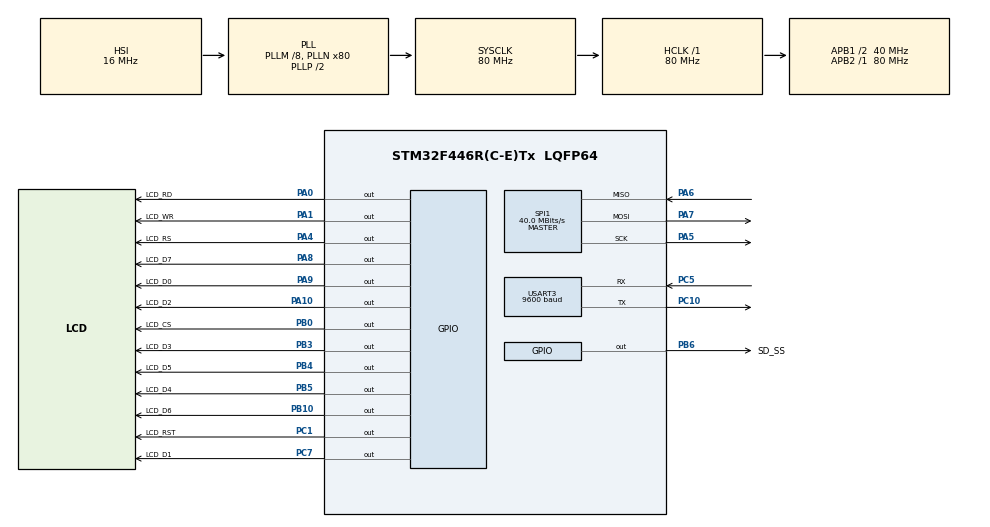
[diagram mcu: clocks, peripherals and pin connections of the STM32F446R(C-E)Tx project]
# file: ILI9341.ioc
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Mcu.Family=STM32F4
Mcu.Name=STM32F446R(C-E)Tx
Mcu.Package=LQFP64
NVIC.PriorityGroup=NVIC_PRIORITYGROUP_4
NVIC.USART3_IRQn=true\:0\:0\:false\:false\:true\:true\:true\:true
PA0-WKUP.GPIO_Label=LCD_RD
PA0-WKUP.GPIO_Speed=GPIO_SPEED_FREQ_HIGH
PA0-WKUP.Signal=GPIO_Output
PA1.GPIO_Label=LCD_WR
PA1.GPIO_Speed=GPIO_SPEED_FREQ_HIGH
PA1.Signal=GPIO_Output
PA10.GPIO_Label=LCD_D2
PA10.GPIO_Speed=GPIO_SPEED_FREQ_HIGH
PA10.Signal=GPIO_Output
PA13.Mode=Serial_Wire
PA13.Signal=SYS_JTMS-SWDIO
PA14.Mode=Serial_Wire
PA14.Signal=SYS_JTCK-SWCLK
PA4.GPIO_Label=LCD_RS
PA4.GPIO_Speed=GPIO_SPEED_FREQ_HIGH
PA4.Signal=GPIO_Output
PA5.Mode=Full_Duplex_Master
PA5.Signal=SPI1_SCK
PA6.Mode=Full_Duplex_Master
PA6.Signal=SPI1_MISO
PA7.Mode=Full_Duplex_Master
PA7.Signal=SPI1_MOSI
PA8.GPIO_Label=LCD_D7
PA8.GPIO_Speed=GPIO_SPEED_FREQ_HIGH
PA8.Signal=GPIO_Output
PA9.GPIO_Label=LCD_D0
PA9.GPIO_Speed=GPIO_SPEED_FREQ_HIGH
PA9.Signal=GPIO_Output
PB0.GPIO_Label=LCD_CS
PB0.GPIO_Speed=GPIO_SPEED_FREQ_HIGH
PB0.Signal=GPIO_Output
PB10.GPIO_Label=LCD_D6
PB10.GPIO_Speed=GPIO_SPEED_FREQ_HIGH
PB10.Signal=GPIO_Output
PB3.GPIO_Label=LCD_D3
PB3.GPIO_Speed=GPIO_SPEED_FREQ_HIGH
PB3.Signal=GPIO_Output
PB4.GPIO_Label=LCD_D5
PB4.GPIO_Speed=GPIO_SPEED_FREQ_HIGH
PB4.Signal=GPIO_Output
PB5.GPIO_Label=LCD_D4
PB5.GPIO_Speed=GPIO_SPEED_FREQ_HIGH
PB5.Signal=GPIO_Output
PB6.GPIO_Label=SD_SS
PB6.GPIO_Speed=GPIO_SPEED_FREQ_HIGH
PB6.Signal=GPIO_Output
PC1.GPIO_Label=LCD_RST
PC1.GPIO_Speed=GPIO_SPEED_FREQ_HIGH
PC1.Signal=GPIO_Output
PC10.Mode=Asynchronous
PC10.Signal=USART3_TX
PC5.Mode=Asynchronous
PC5.Signal=USART3_RX
PC7.GPIO_Label=LCD_D1
PC7.GPIO_Speed=GPIO_SPEED_FREQ_HIGH
PC7.Signal=GPIO_Output
PH0-OSC_IN.Mode=HSE-External-Oscillator
PH0-OSC_IN.Signal=RCC_OSC_IN
PH1-OSC_OUT.Mode=HSE-External-Oscillator
PH1-OSC_OUT.Signal=RCC_OSC_OUT
ProjectManager.HeapSize=0x200
ProjectManager.StackSize=0x400
ProjectManager.TargetToolchain=STM32CubeIDE
RCC.AHBFreq_Value=80000000
RCC.APB1CLKDivider=RCC_HCLK_DIV2
RCC.APB1Freq_Value=40000000
RCC.APB1TimFreq_Value=80000000
RCC.APB2Freq_Value=80000000
RCC.APB2TimFreq_Value=80000000
RCC.CortexFreq_Value=80000000
RCC.HCLKFreq_Value=80000000
RCC.PLLM=8
RCC.PLLN=80
RCC.SYSCLKFreq_VALUE=80000000
RCC.SYSCLKSource=RCC_SYSCLKSOURCE_PLLCLK
RCC.USBFreq_Value=80000000
RCC.VCOOutputFreq_Value=160000000
SPI1.CalculateBaudRate=40.0 MBits/s
SPI1.Direction=SPI_DIRECTION_2LINES
SPI1.Mode=SPI_MODE_MASTER
SPI1.VirtualType=VM_MASTER
USART3.BaudRate=9600
USART3.Mode=MODE_RX
USART3.VirtualMode=VM_ASYNC
board=custom

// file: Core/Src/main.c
/* USER CODE BEGIN Header */
/**
 ******************************************************************************
 * @file           : main.c
 * @brief          : Main program body
 ******************************************************************************
 * @attention
 *
 * Copyright (c) 2024 STMicroelectronics.
 * All rights reserved.
 *
 * This software is licensed under terms that can be found in the LICENSE file
 * in the root directory of this software component.
 * If no LICENSE file comes with this software, it is provided AS-IS.
 *
 ******************************************************************************
 */
/* USER CODE END Header */
#include "main.h"

/* USER CODE BEGIN Includes */
#include "ili9341.h"
/* USER CODE END Includes */

SPI_HandleTypeDef hspi1;

UART_HandleTypeDef huart3;

/* USER CODE BEGIN PV */
//extern uint8_t fondo[];
extern uint8_t Jug2 [];
extern uint8_t Jug1 [];
extern uint8_t colijug1 [];
extern uint8_t movjug1 [];
uint8_t data[];
int rect_x = 90, rect_y = 60;
int rect_width = 20, rect_height = 20;

/*int y_limit_min = 10, y_limit_max = 200;*/
int move_step = 10;
int jug_width = 32, jug_height = 31;

// Coordenadas iniciales del personaje Jug1
int jug_x = 150, jug_y = 200;

// Límite de movimiento en Y para Jug1
int y_limit_min = 120, y_limit_max = 240;

int green_rect_x = 150, green_rect_y = 60;
int green_rect_width = 20, green_rect_height = 20;

volatile uint8_t received_char = 0;  // Variable para almacenar el último carácter recibido
volatile uint8_t new_command = 0;  // Bandera para indicar si se recibió un nuevo comando

int colision = 0;

// Variable para mostrar en pantalla
char Pant[20];
/* USER CODE END PV */

void SystemClock_Config(void);
static void MX_GPIO_Init(void);
static void MX_SPI1_Init(void);
static void MX_USART3_UART_Init(void);

/* USER CODE BEGIN 0 */
int check_collision(int jug_x, int jug_y, int green_x, int green_y) {
    return (jug_x < green_x + green_rect_width &&
            jug_x + jug_width > green_x &&
            jug_y < green_y + green_rect_height &&
            jug_y + jug_height > green_y);
}
void move_jug1_up() {
    // Limpiar la posición actual del personaje Jug1 (dibujar un rectángulo blanco sobre la posición anterior)
    FillRect(jug_x, jug_y, jug_width, jug_height, 0xFFFF);  // Color de fondo (blanco)

    // Mover hacia arriba si no ha alcanzado el límite
    if (jug_y - move_step >= y_limit_min) {
        jug_y -= move_step;
    }

    // Dibujar el personaje Jug1 en la nueva posición
    LCD_Bitmap(jug_x, jug_y, jug_width, jug_height, Jug1);  // Dibuja Jug1 en la nueva posición

    // Verificar colisión con el cubo verde
    if (check_collision(jug_x, jug_y, green_rect_x, green_rect_y)) {
    	colision++;
    }

    // Mostrar el contador de colisiones en pantalla
    sprintf(Pant, "Colisiones: %d", colision);
    LCD_Print(Pant, 20, 100, 1, 0x001F, 0xFFFF);  // Imprimir colisiones en la pantalla
}
void move_jug1_down() {
    // Limpiar la posición actual del personaje Jug1 (dibujar un rectángulo blanco sobre la posición anterior)
    FillRect(jug_x, jug_y, jug_width, jug_height, 0xFFFF);  // Color de fondo (blanco)

    // Mover hacia abajo si no ha alcanzado el límite
    if (jug_y + move_step <= y_limit_max) {
        jug_y += move_step;
    }

    // Dibujar el personaje Jug1 en la nueva posición
    LCD_Bitmap(jug_x, jug_y, jug_width, jug_height, Jug1);  // Dibuja Jug1 en la nueva posición

    // Verificar colisión con el cubo verde
    if (check_collision(jug_x, jug_y, green_rect_x, green_rect_y)) {
        colision++;
    }

    // Mostrar el contador de colisiones en pantalla
    sprintf(Pant, "Colisiones: %d", colision);
    LCD_Print(Pant, 20, 100, 1, 0x001F, 0xFFFF);  // Imprimir colisiones en la pantalla
}
/*void move_blue_cube_up() {
    // Limpiar el cubo azul actual (dibujar un rectángulo blanco sobre la posición anterior)
    FillRect(rect_x, rect_y, rect_width, rect_height, 0xFFFF);  // Color de fondo (blanco)

    // Mover hacia arriba si no ha alcanzado el límite
    if (rect_y - move_step >= y_limit_min) {
        rect_y -= move_step;
    }

    // Dibujar el cubo azul en la nueva posición
    FillRect(rect_x, rect_y, rect_width, rect_height, 0x001F);  // Azul

    // Verificar colisión con el cubo verde
    if (check_collision(rect_x, rect_y, green_rect_x, green_rect_y)) {
    	colision++;
    }

    // Mostrar el contador de colisiones en pantalla
    sprintf(Pant, "Colisiones: %d", colision);
    LCD_Print(Pant, 20, 100, 1, 0x001F, 0xFFFF);  // Imprimir colisiones en la pantalla
}

void move_blue_cube_down() {
    // Limpiar el cubo azul actual (dibujar un rectángulo blanco sobre la posición anterior)
    FillRect(rect_x, rect_y, rect_width, rect_height, 0xFFFF);  // Color de fondo (blanco)

    // Mover hacia abajo si no ha alcanzado el límite
    if (rect_y + move_step <= y_limit_max) {
        rect_y += move_step;
    }

    // Dibujar el cubo azul en la nueva posición
    FillRect(rect_x, rect_y, rect_width, rect_height, 0x001F);  // Azul

    // Verificar colisión con el cubo verde
    if (check_collision(rect_x, rect_y, green_rect_x, green_rect_y)) {
    	colision++;
    }

    // Mostrar el contador de colisiones en pantalla
    sprintf(Pant, "Colisiones: %d", colision);
    LCD_Print(Pant, 20, 100, 1, 0x001F, 0xFFFF);  // Imprimir colisiones en la pantalla
}*/

void move_green_cube_left() {
    // Limpiar el cubo verde actual
    FillRect(green_rect_x, green_rect_y, green_rect_width, green_rect_height, 0xFFFF);  // Color de fondo (blanco)

    // Mover el cubo verde hacia la izquierda
    green_rect_x -= move_step;

    // Dibujar el cubo verde en la nueva posición
    FillRect(green_rect_x, green_rect_y, green_rect_width, green_rect_height, 0x07E0);  // Verde
}

void move_green_cube_right() {
    // Limpiar el cubo verde actual
    FillRect(green_rect_x, green_rect_y, green_rect_width, green_rect_height, 0xFFFF);  // Color de fondo (blanco)

    // Mover el cubo verde hacia la derecha
    green_rect_x += move_step;

    // Dibujar el cubo verde en la nueva posición
    FillRect(green_rect_x, green_rect_y, green_rect_width, green_rect_height, 0x07E0);  // Verde
}
/* USER CODE END 0 */

int main(void)
{

  /* MCU Configuration--------------------------------------------------------*/

  /* Reset of all peripherals, Initializes the Flash interface and the Systick. */
  HAL_Init();

  /* Configure the system clock */
  SystemClock_Config();

  /* Initialize all configured peripherals */
  MX_GPIO_Init();
  MX_SPI1_Init();
  MX_USART3_UART_Init();
  /* USER CODE BEGIN 2 */
    HAL_UART_Receive_IT(&huart3, data, 1);
	LCD_Init();

	LCD_Clear(0x00);
	FillRect(0, 0, 319, 239, 0xFFFF);
	FillRect(50, 60, 20, 20, 0xF800);
	FillRect(70, 60, 20, 20, 0x07E0);
	//LCD_Bitmap(0, 0, 320, 240, fondo);
	//LCD_Bitmap(0, 0, 32, 31, Jug2);
	LCD_Bitmap(50, 150, 32, 31, Jug1);
	FillRect(90, 60, 20, 20, 0x001F);

	//FillRect(0, 0, 319, 206, 0x1911);

	 //LCD_Print("Hola Mundo", 20, 100, 1, 0x001F, 0xCAB9);

  /* USER CODE END 2 */

  /* Infinite loop */
  /* USER CODE BEGIN WHILE */
	while (1) {
		/*for(int x = 0; x < 320 -32; x++){
			HAL_Delay(15);
			int anima = (x/35)%3;
			LCD_Sprite(0, 200, 31, 32, colijug1, 3, anima, 0, 1);
		}*/
		for(int c = 0; c < 320 -32; c++){
			HAL_Delay(15);
			int anima1 = (c/2)%2;
			LCD_Sprite(0, 200, 29, 41, movjug1, 2, anima1, 0, 1);
		}

		if (received_char == 'g') {
		    //move_blue_cube_up();  // Mover cubo azul hacia arriba
		    move_jug1_up();
		    received_char = 0;  // Resetear el comando
		}

		if (received_char == 'h') {
		    //move_blue_cube_down();  // Mover cubo azul hacia abajo
			move_jug1_down();
		    received_char = 0;  // Resetear el comando
		}
		if (received_char == 'e') {
		    move_green_cube_left();  // Mover cubo verde hacia la izquierda
		    received_char = 0;  // Resetear el comando
		}
		if(received_char == 'f'){
			move_green_cube_right();
			received_char = 0;
		}
    /* USER CODE END WHILE */

	}
}

void SystemClock_Config(void)
{
  RCC_OscInitTypeDef RCC_OscInitStruct = {0};
  RCC_ClkInitTypeDef RCC_ClkInitStruct = {0};

  /** Configure the main internal regulator output voltage
  */
  __HAL_RCC_PWR_CLK_ENABLE();
  __HAL_PWR_VOLTAGESCALING_CONFIG(PWR_REGULATOR_VOLTAGE_SCALE3);

  /** Initializes the RCC Oscillators according to the specified parameters
  * in the RCC_OscInitTypeDef structure.
  */
  RCC_OscInitStruct.OscillatorType = RCC_OSCILLATORTYPE_HSI;
  RCC_OscInitStruct.HSIState = RCC_HSI_ON;
  RCC_OscInitStruct.HSICalibrationValue = RCC_HSICALIBRATION_DEFAULT;
  RCC_OscInitStruct.PLL.PLLState = RCC_PLL_ON;
  RCC_OscInitStruct.PLL.PLLSource = RCC_PLLSOURCE_HSI;
  RCC_OscInitStruct.PLL.PLLM = 8;
  RCC_OscInitStruct.PLL.PLLN = 80;
  RCC_OscInitStruct.PLL.PLLP = RCC_PLLP_DIV2;
  RCC_OscInitStruct.PLL.PLLQ = 2;
  RCC_OscInitStruct.PLL.PLLR = 2;
  if (HAL_RCC_OscConfig(&RCC_OscInitStruct) != HAL_OK)
  {
    Error_Handler();
  }

  /** Initializes the CPU, AHB and APB buses clocks
  */
  RCC_ClkInitStruct.ClockType = RCC_CLOCKTYPE_HCLK|RCC_CLOCKTYPE_SYSCLK
                              |RCC_CLOCKTYPE_PCLK1|RCC_CLOCKTYPE_PCLK2;
  RCC_ClkInitStruct.SYSCLKSource = RCC_SYSCLKSOURCE_PLLCLK;
  RCC_ClkInitStruct.AHBCLKDivider = RCC_SYSCLK_DIV1;
  RCC_ClkInitStruct.APB1CLKDivider = RCC_HCLK_DIV2;
  RCC_ClkInitStruct.APB2CLKDivider = RCC_HCLK_DIV1;

  if (HAL_RCC_ClockConfig(&RCC_ClkInitStruct, FLASH_LATENCY_2) != HAL_OK)
  {
    Error_Handler();
  }
}

static void MX_SPI1_Init(void)
{

  /* SPI1 parameter configuration*/
  hspi1.Instance = SPI1;
  hspi1.Init.Mode = SPI_MODE_MASTER;
  hspi1.Init.Direction = SPI_DIRECTION_2LINES;
  hspi1.Init.DataSize = SPI_DATASIZE_8BIT;
  hspi1.Init.CLKPolarity = SPI_POLARITY_LOW;
  hspi1.Init.CLKPhase = SPI_PHASE_1EDGE;
  hspi1.Init.NSS = SPI_NSS_SOFT;
  hspi1.Init.BaudRatePrescaler = SPI_BAUDRATEPRESCALER_2;
  hspi1.Init.FirstBit = SPI_FIRSTBIT_MSB;
  hspi1.Init.TIMode = SPI_TIMODE_DISABLE;
  hspi1.Init.CRCCalculation = SPI_CRCCALCULATION_DISABLE;
  hspi1.Init.CRCPolynomial = 10;
  if (HAL_SPI_Init(&hspi1) != HAL_OK)
  {
    Error_Handler();
  }

}

static void MX_USART3_UART_Init(void)
{

  huart3.Instance = USART3;
  huart3.Init.BaudRate = 9600;
  huart3.Init.WordLength = UART_WORDLENGTH_8B;
  huart3.Init.StopBits = UART_STOPBITS_1;
  huart3.Init.Parity = UART_PARITY_NONE;
  huart3.Init.Mode = UART_MODE_RX;
  huart3.Init.HwFlowCtl = UART_HWCONTROL_NONE;
  huart3.Init.OverSampling = UART_OVERSAMPLING_16;
  if (HAL_UART_Init(&huart3) != HAL_OK)
  {
    Error_Handler();
  }

}

static void MX_GPIO_Init(void)
{
  GPIO_InitTypeDef GPIO_InitStruct = {0};

  /* GPIO Ports Clock Enable */
  __HAL_RCC_GPIOH_CLK_ENABLE();
  __HAL_RCC_GPIOC_CLK_ENABLE();
  __HAL_RCC_GPIOA_CLK_ENABLE();
  __HAL_RCC_GPIOB_CLK_ENABLE();

  /*Configure GPIO pin Output Level */
  HAL_GPIO_WritePin(GPIOC, LCD_RST_Pin|LCD_D1_Pin, GPIO_PIN_RESET);

  /*Configure GPIO pin Output Level */
  HAL_GPIO_WritePin(GPIOA, LCD_RD_Pin|LCD_WR_Pin|LCD_RS_Pin|LCD_D7_Pin
                          |LCD_D0_Pin|LCD_D2_Pin, GPIO_PIN_RESET);

  /*Configure GPIO pin Output Level */
  HAL_GPIO_WritePin(GPIOB, LCD_CS_Pin|LCD_D6_Pin|LCD_D3_Pin|LCD_D5_Pin
                          |LCD_D4_Pin|SD_SS_Pin, GPIO_PIN_RESET);

  /*Configure GPIO pins : LCD_RST_Pin LCD_D1_Pin */
  GPIO_InitStruct.Pin = LCD_RST_Pin|LCD_D1_Pin;
  GPIO_InitStruct.Mode = GPIO_MODE_OUTPUT_PP;
  GPIO_InitStruct.Pull = GPIO_NOPULL;
  GPIO_InitStruct.Speed = GPIO_SPEED_FREQ_HIGH;
  HAL_GPIO_Init(GPIOC, &GPIO_InitStruct);

  /*Configure GPIO pins : LCD_RD_Pin LCD_WR_Pin LCD_RS_Pin LCD_D7_Pin
                           LCD_D0_Pin LCD_D2_Pin */
  GPIO_InitStruct.Pin = LCD_RD_Pin|LCD_WR_Pin|LCD_RS_Pin|LCD_D7_Pin
                          |LCD_D0_Pin|LCD_D2_Pin;
  GPIO_InitStruct.Mode = GPIO_MODE_OUTPUT_PP;
  GPIO_InitStruct.Pull = GPIO_NOPULL;
  GPIO_InitStruct.Speed = GPIO_SPEED_FREQ_HIGH;
  HAL_GPIO_Init(GPIOA, &GPIO_InitStruct);

  /*Configure GPIO pins : LCD_CS_Pin LCD_D6_Pin LCD_D3_Pin LCD_D5_Pin
                           LCD_D4_Pin SD_SS_Pin */
  GPIO_InitStruct.Pin = LCD_CS_Pin|LCD_D6_Pin|LCD_D3_Pin|LCD_D5_Pin
                          |LCD_D4_Pin|SD_SS_Pin;
  GPIO_InitStruct.Mode = GPIO_MODE_OUTPUT_PP;
  GPIO_InitStruct.Pull = GPIO_NOPULL;
  GPIO_InitStruct.Speed = GPIO_SPEED_FREQ_HIGH;
  HAL_GPIO_Init(GPIOB, &GPIO_InitStruct);

}

/* USER CODE BEGIN 4 */
void HAL_UART_RxCpltCallback(UART_HandleTypeDef *huart)
{
	received_char = data[0];
	new_command = 1;
	HAL_UART_Receive_IT(&huart3, data, 1);

}
/* USER CODE END 4 */

void Error_Handler(void)
{
	__disable_irq();
	while (1) {
	}
}
